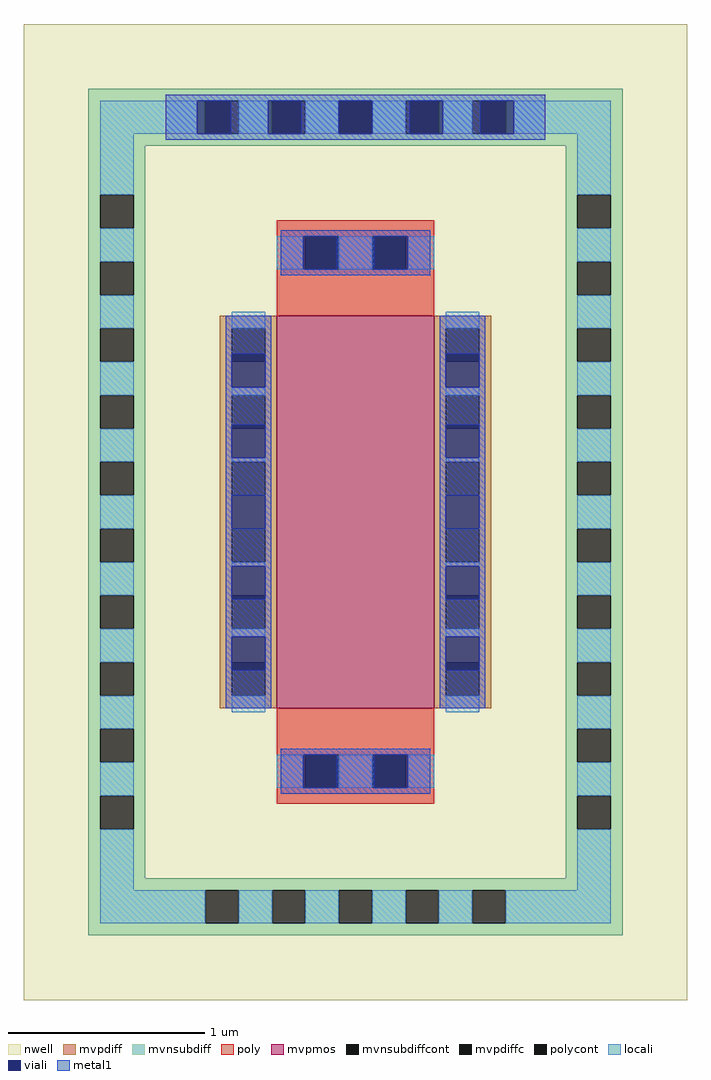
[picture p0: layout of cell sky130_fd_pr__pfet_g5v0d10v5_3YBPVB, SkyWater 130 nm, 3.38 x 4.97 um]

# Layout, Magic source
magic
tech sky130A
magscale 1 2
<< nwell >>
rect -338 -497 338 497
<< mvpmos >>
rect -80 -200 80 200
<< mvpdiff >>
rect -138 187 -80 200
rect -138 153 -126 187
rect -92 153 -80 187
rect -138 119 -80 153
rect -138 85 -126 119
rect -92 85 -80 119
rect -138 51 -80 85
rect -138 17 -126 51
rect -92 17 -80 51
rect -138 -17 -80 17
rect -138 -51 -126 -17
rect -92 -51 -80 -17
rect -138 -85 -80 -51
rect -138 -119 -126 -85
rect -92 -119 -80 -85
rect -138 -153 -80 -119
rect -138 -187 -126 -153
rect -92 -187 -80 -153
rect -138 -200 -80 -187
rect 80 187 138 200
rect 80 153 92 187
rect 126 153 138 187
rect 80 119 138 153
rect 80 85 92 119
rect 126 85 138 119
rect 80 51 138 85
rect 80 17 92 51
rect 126 17 138 51
rect 80 -17 138 17
rect 80 -51 92 -17
rect 126 -51 138 -17
rect 80 -85 138 -51
rect 80 -119 92 -85
rect 126 -119 138 -85
rect 80 -153 138 -119
rect 80 -187 92 -153
rect 126 -187 138 -153
rect 80 -200 138 -187
<< mvpdiffc >>
rect -126 153 -92 187
rect -126 85 -92 119
rect -126 17 -92 51
rect -126 -51 -92 -17
rect -126 -119 -92 -85
rect -126 -187 -92 -153
rect 92 153 126 187
rect 92 85 126 119
rect 92 17 126 51
rect 92 -51 126 -17
rect 92 -119 126 -85
rect 92 -187 126 -153
<< mvnsubdiff >>
rect -272 419 272 431
rect -272 385 -153 419
rect -119 385 -85 419
rect -51 385 -17 419
rect 17 385 51 419
rect 85 385 119 419
rect 153 385 272 419
rect -272 373 272 385
rect -272 323 -214 373
rect -272 289 -260 323
rect -226 289 -214 323
rect 214 323 272 373
rect -272 255 -214 289
rect -272 221 -260 255
rect -226 221 -214 255
rect -272 187 -214 221
rect 214 289 226 323
rect 260 289 272 323
rect 214 255 272 289
rect 214 221 226 255
rect 260 221 272 255
rect -272 153 -260 187
rect -226 153 -214 187
rect -272 119 -214 153
rect -272 85 -260 119
rect -226 85 -214 119
rect -272 51 -214 85
rect -272 17 -260 51
rect -226 17 -214 51
rect -272 -17 -214 17
rect -272 -51 -260 -17
rect -226 -51 -214 -17
rect -272 -85 -214 -51
rect -272 -119 -260 -85
rect -226 -119 -214 -85
rect -272 -153 -214 -119
rect -272 -187 -260 -153
rect -226 -187 -214 -153
rect -272 -221 -214 -187
rect 214 187 272 221
rect 214 153 226 187
rect 260 153 272 187
rect 214 119 272 153
rect 214 85 226 119
rect 260 85 272 119
rect 214 51 272 85
rect 214 17 226 51
rect 260 17 272 51
rect 214 -17 272 17
rect 214 -51 226 -17
rect 260 -51 272 -17
rect 214 -85 272 -51
rect 214 -119 226 -85
rect 260 -119 272 -85
rect 214 -153 272 -119
rect 214 -187 226 -153
rect 260 -187 272 -153
rect -272 -255 -260 -221
rect -226 -255 -214 -221
rect -272 -289 -214 -255
rect -272 -323 -260 -289
rect -226 -323 -214 -289
rect 214 -221 272 -187
rect 214 -255 226 -221
rect 260 -255 272 -221
rect 214 -289 272 -255
rect -272 -373 -214 -323
rect 214 -323 226 -289
rect 260 -323 272 -289
rect 214 -373 272 -323
rect -272 -385 272 -373
rect -272 -419 -153 -385
rect -119 -419 -85 -385
rect -51 -419 -17 -385
rect 17 -419 51 -385
rect 85 -419 119 -385
rect 153 -419 272 -385
rect -272 -431 272 -419
<< mvnsubdiffcont >>
rect -153 385 -119 419
rect -85 385 -51 419
rect -17 385 17 419
rect 51 385 85 419
rect 119 385 153 419
rect -260 289 -226 323
rect -260 221 -226 255
rect 226 289 260 323
rect 226 221 260 255
rect -260 153 -226 187
rect -260 85 -226 119
rect -260 17 -226 51
rect -260 -51 -226 -17
rect -260 -119 -226 -85
rect -260 -187 -226 -153
rect 226 153 260 187
rect 226 85 260 119
rect 226 17 260 51
rect 226 -51 260 -17
rect 226 -119 260 -85
rect 226 -187 260 -153
rect -260 -255 -226 -221
rect -260 -323 -226 -289
rect 226 -255 260 -221
rect 226 -323 260 -289
rect -153 -419 -119 -385
rect -85 -419 -51 -385
rect -17 -419 17 -385
rect 51 -419 85 -385
rect 119 -419 153 -385
<< poly >>
rect -80 281 80 297
rect -80 247 -51 281
rect -17 247 17 281
rect 51 247 80 281
rect -80 200 80 247
rect -80 -247 80 -200
rect -80 -281 -51 -247
rect -17 -281 17 -247
rect 51 -281 80 -247
rect -80 -297 80 -281
<< polycont >>
rect -51 247 -17 281
rect 17 247 51 281
rect -51 -281 -17 -247
rect 17 -281 51 -247
<< locali >>
rect -260 385 -161 419
rect -119 385 -89 419
rect -51 385 -17 419
rect 17 385 51 419
rect 89 385 119 419
rect 161 385 260 419
rect -260 323 -226 385
rect -260 255 -226 289
rect 226 323 260 385
rect -80 247 -53 281
rect -17 247 17 281
rect 53 247 80 281
rect 226 255 260 289
rect -260 187 -226 221
rect -260 119 -226 153
rect -260 51 -226 85
rect -260 -17 -226 17
rect -260 -85 -226 -51
rect -260 -153 -226 -119
rect -260 -221 -226 -187
rect -126 187 -92 204
rect -126 119 -92 127
rect -126 51 -92 55
rect -126 -55 -92 -51
rect -126 -127 -92 -119
rect -126 -204 -92 -187
rect 92 187 126 204
rect 92 119 126 127
rect 92 51 126 55
rect 92 -55 126 -51
rect 92 -127 126 -119
rect 92 -204 126 -187
rect 226 187 260 221
rect 226 119 260 153
rect 226 51 260 85
rect 226 -17 260 17
rect 226 -85 260 -51
rect 226 -153 260 -119
rect 226 -221 260 -187
rect -260 -289 -226 -255
rect -80 -281 -53 -247
rect -17 -281 17 -247
rect 53 -281 80 -247
rect -260 -385 -226 -323
rect 226 -289 260 -255
rect 226 -385 260 -323
rect -260 -419 -153 -385
rect -119 -419 -85 -385
rect -51 -419 -17 -385
rect 17 -419 51 -385
rect 85 -419 119 -385
rect 153 -419 260 -385
<< viali >>
rect -161 385 -153 419
rect -153 385 -127 419
rect -89 385 -85 419
rect -85 385 -55 419
rect -17 385 17 419
rect 55 385 85 419
rect 85 385 89 419
rect 127 385 153 419
rect 153 385 161 419
rect -53 247 -51 281
rect -51 247 -19 281
rect 19 247 51 281
rect 51 247 53 281
rect -126 153 -92 161
rect -126 127 -92 153
rect -126 85 -92 89
rect -126 55 -92 85
rect -126 -17 -92 17
rect -126 -85 -92 -55
rect -126 -89 -92 -85
rect -126 -153 -92 -127
rect -126 -161 -92 -153
rect 92 153 126 161
rect 92 127 126 153
rect 92 85 126 89
rect 92 55 126 85
rect 92 -17 126 17
rect 92 -85 126 -55
rect 92 -89 126 -85
rect 92 -153 126 -127
rect 92 -161 126 -153
rect -53 -281 -51 -247
rect -51 -281 -19 -247
rect 19 -281 51 -247
rect 51 -281 53 -247
<< metal1 >>
rect -193 419 193 425
rect -193 385 -161 419
rect -127 385 -89 419
rect -55 385 -17 419
rect 17 385 55 419
rect 89 385 127 419
rect 161 385 193 419
rect -193 379 193 385
rect -76 281 76 287
rect -76 247 -53 281
rect -19 247 19 281
rect 53 247 76 281
rect -76 241 76 247
rect -132 161 -86 200
rect -132 127 -126 161
rect -92 127 -86 161
rect -132 89 -86 127
rect -132 55 -126 89
rect -92 55 -86 89
rect -132 17 -86 55
rect -132 -17 -126 17
rect -92 -17 -86 17
rect -132 -55 -86 -17
rect -132 -89 -126 -55
rect -92 -89 -86 -55
rect -132 -127 -86 -89
rect -132 -161 -126 -127
rect -92 -161 -86 -127
rect -132 -200 -86 -161
rect 86 161 132 200
rect 86 127 92 161
rect 126 127 132 161
rect 86 89 132 127
rect 86 55 92 89
rect 126 55 132 89
rect 86 17 132 55
rect 86 -17 92 17
rect 126 -17 132 17
rect 86 -55 132 -17
rect 86 -89 92 -55
rect 126 -89 132 -55
rect 86 -127 132 -89
rect 86 -161 92 -127
rect 126 -161 132 -127
rect 86 -200 132 -161
rect -76 -247 76 -241
rect -76 -281 -53 -247
rect -19 -281 19 -247
rect 53 -281 76 -247
rect -76 -287 76 -281
<< properties >>
string FIXED_BBOX -243 -402 243 402
<< end >>
